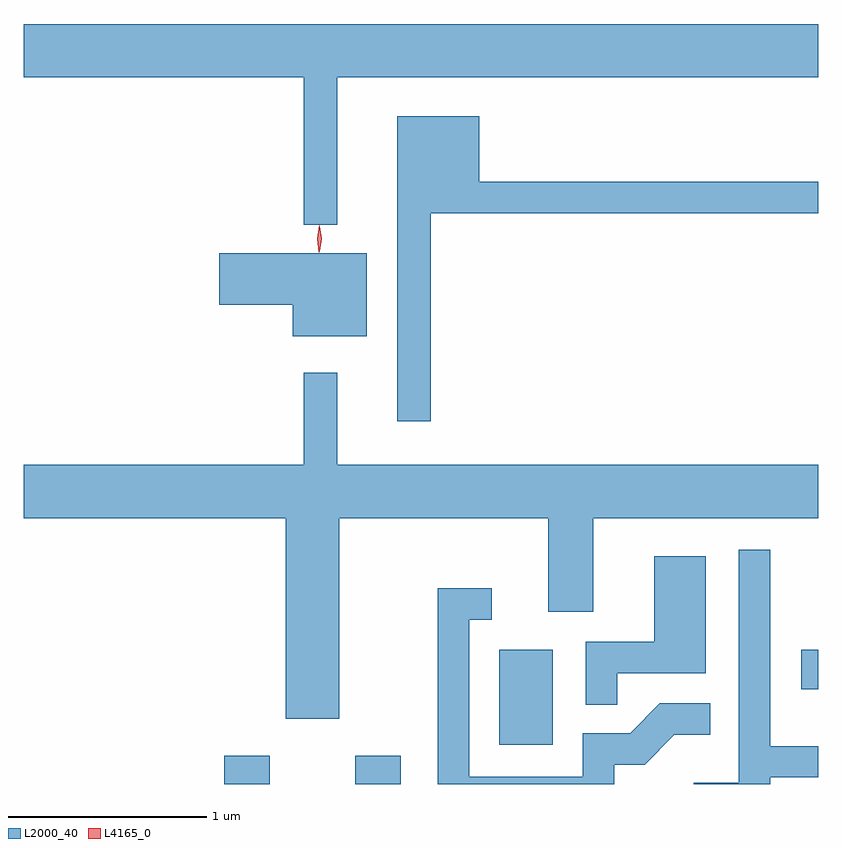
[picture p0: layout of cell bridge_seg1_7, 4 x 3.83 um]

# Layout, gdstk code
import gdstk
lib = gdstk.Library(unit=1e-6, precision=1e-09)
def R(c, l, rs):  # rectangles x0, y0, x1, y1
    for r in rs: c.add(gdstk.rectangle(r[:2], r[2:], *l))
def P(c, l, *ps):  # polygons
    for p in ps: c.add(gdstk.Polygon(p, *l))
L2000_40 = (2000, 40)
L4165_0 = (4165, 0)

bridge_seg1_7 = lib.new_cell('bridge_seg1_7')
R(bridge_seg1_7, L2000_40, [(1662.391,840.518,1662.619,840.659), (1663.051,840.518,1663.279,840.659), (1663.776,840.716,1664.044,841.194), (1665.296,840.996,1665.381,841.194)])
P(bridge_seg1_7, L2000_40, [(1662.959,844.076),(1665.381,844.076),(1665.381,844.344),(1661.381,844.344),(1661.381,844.076),(1662.791,844.076),(1662.791,843.333),(1662.959,843.333)],
  [(1663.429,843.391),(1665.381,843.391),(1665.381,843.549),(1663.674,843.549),(1663.674,843.879),(1663.261,843.879),(1663.261,842.343),(1663.429,842.343)],
  [(1663.109,843.189),(1662.366,843.189),(1662.366,842.931),(1662.736,842.931),(1662.736,842.771),(1663.109,842.771)],
  [(1662.969,841.856),(1664.021,841.856),(1664.021,841.386),(1664.249,841.386),(1664.249,841.856),(1665.381,841.856),(1665.381,842.124),(1662.959,842.124),(1662.959,842.588),(1662.791,842.588),(1662.791,842.124),(1661.381,842.124),(1661.381,841.856),(1662.701,841.856),(1662.701,840.846),(1662.969,840.846)],
  [(1665.139,840.551),(1665.381,840.551),(1665.381,840.709),(1665.139,840.709),(1665.139,841.698),(1664.981,841.698),(1664.981,840.524),(1664.753,840.524),(1664.753,840.518),(1665.139,840.518)],
  [(1664.369,841.076),(1664.814,841.076),(1664.814,841.664),(1664.556,841.664),(1664.556,841.234),(1664.211,841.234),(1664.211,840.918),(1664.369,840.918)],
  [(1664.354,840.616),(1664.507,840.616),(1664.657,840.766),(1664.838,840.766),(1664.838,840.924),(1664.584,840.924),(1664.434,840.774),(1664.196,840.774),(1664.196,840.554),(1663.624,840.554),(1663.624,841.346),(1663.738,841.346),(1663.738,841.504),(1663.466,841.504),(1663.466,840.518),(1664.354,840.518)])
P(bridge_seg1_7, L4165_0, [(1662.867,843.194),(1662.867,843.194),(1662.858,843.262),(1662.868,843.33),(1662.869,843.33),(1662.869,843.33),(1662.878,843.262),(1662.868,843.194)],
  [(1662.871,843.2),(1662.862,843.263),(1662.871,843.326),(1662.872,843.327),(1662.872,843.326),(1662.882,843.263),(1662.872,843.2),(1662.872,843.2)])

lib.write_gds('bridge_seg1_7.gds')
